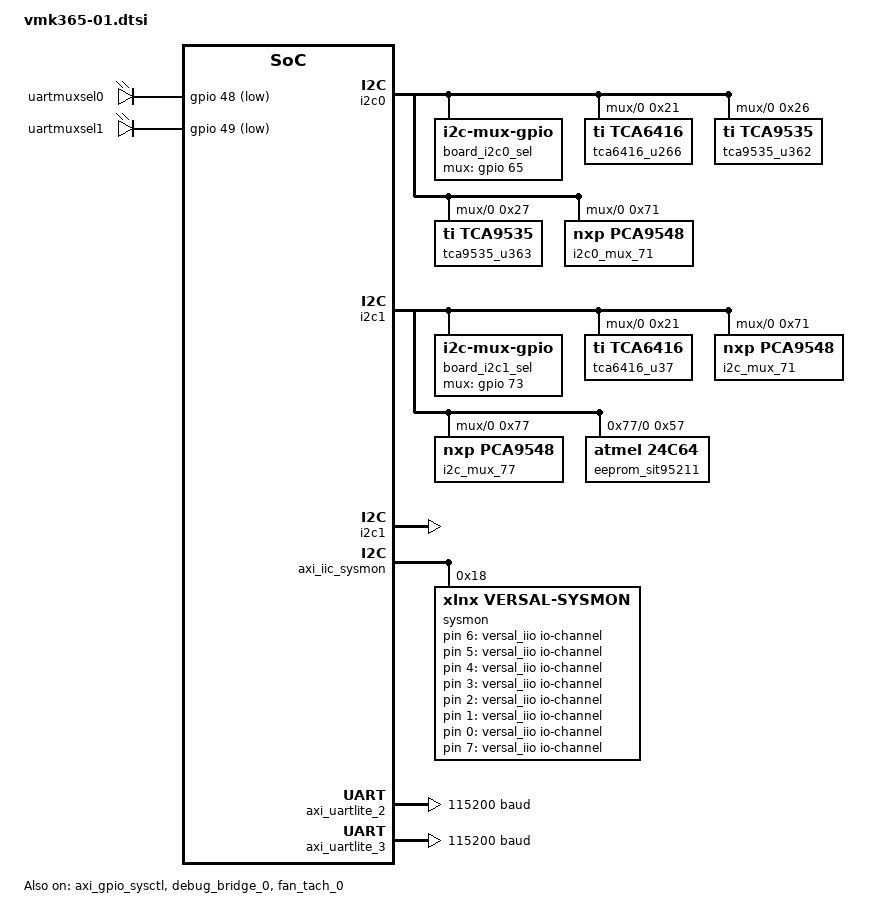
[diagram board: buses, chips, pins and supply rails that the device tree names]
// SPDX-License-Identifier: GPL-2.0
/*
 * dts file for SC on VMK365 (k24)
 *
 * (C) Copyright 2026, Advanced Micro Devices, Inc.
 *
 */

/dts-v1/;
/plugin/;

&{/} {
	compatible = "xlnx,zynqmp-sc-vmk365", "xlnx,zynqmp";
	model = "ZynqMP SC VMK365";

	versal_iio: versal {
		compatible = "iio-hwmon";
		io-channels = <&sysmon 6>, <&sysmon 5>, <&sysmon 4>,
				<&sysmon 3>, <&sysmon 2>, <&sysmon 1>,
				<&sysmon 0>, <&sysmon 7>, <&sysmon 8>, <&sysmon 9>;
	};

	leds-um {
		compatible = "gpio-leds";
		um0-led {
			label = "uartmuxsel0";
			gpios = <&gpio 48 1>;
			default-state = "off";
		};

		um1-led {
			label = "uartmuxsel1";
			gpios = <&gpio 49 1>;
			default-state = "off";
		};
	};
};

&{/} {
	/*
	 * BOARD_I2C0/1 are shared with the DUT through level translators
	 * (U31/U32, U33/U34). MIO65/MIO73 select the owner: 0 = SC, 1 = DUT.
	 * No arbitration exists, so the bus is handed back to the DUT when idle.
	 */
	board_i2c0_sel: i2c-mux-board-i2c0 {
		compatible = "i2c-mux-gpio";
		i2c-parent = <&i2c0>;
		mux-gpios = <&gpio 65 0>; /* MIO65 - I2C0_SW_SEL */
		idle-state = <1>;
		settle-time-us = <1000>;
		#address-cells = <1>;
		#size-cells = <0>;

		board_i2c0: i2c@0 { /* FMC/J13  - MIO66/67 - board_i2c0 */
			reg = <0>;
			#address-cells = <1>;
			#size-cells = <0>;

			tca6416_u266: gpio@21 { /* u266 */
				compatible = "ti,tca6416";
				reg = <0x21>;
				gpio-controller; /* interrupt on MIO69 */
				#gpio-cells = <2>;
				gpio-line-names = "QSFP_MODSELL", "QSFP_RESETL", "QSFP_MODPRSL", "QSFP_INTL", /* 0 - 3 */
						  "QSFP_LPMODE", "", "", "", /* 4 - 7 */
						  "", "", "", "", /* 10 - 13 */
						  "", "", "", ""; /* 14 - 17 */
			};

			tca9535_u362: gpio@26 { /* u362 */
				compatible = "ti,tca9535";
				reg = <0x26>;
				gpio-controller; /* interrupt on MIO69 */
				#gpio-cells = <2>;
				gpio-line-names = "SFP28_P0_TX_FAULT", "SFP28_P0_RX_LOS", "SFP28_P0_MOD_ABS", "SFP28_P0_TX_DISABLE", /* 0 - 3 */
						  "SFP28_P0_RS0_R", "SFP28_P0_RS1_R", "", "", /* 4 - 7 */
						  "SFP28_P1_TX_FAULT", "SFP28_P1_RX_LOS", "SFP28_P1_MOD_ABS", "SFP28_P1_TX_DISABLE", /* 10 - 13 */
						  "SFP28_P1_RS0_R", "SFP28_P1_RS1_R", "", ""; /* 14 - 17 */
			};

			tca9535_u363: gpio@27 { /* u363 */
				compatible = "ti,tca9535";
				reg = <0x27>;
				gpio-controller; /* interrupt on MIO69 */
				#gpio-cells = <2>;
				gpio-line-names = "SFP28_P2_TX_FAULT", "SFP28_P2_RX_LOS", "SFP28_P2_MOD_ABS", "SFP28_P2_TX_DISABLE", /* 0 - 3 */
						  "SFP28_P2_RS0_R", "SFP28_P2_RS1_R", "", "", /* 4 - 7 */
						  "SFP28_P3_TX_FAULT", "SFP28_P3_RX_LOS", "SFP28_P3_MOD_ABS", "SFP28_P3_TX_DISABLE", /* 10 - 13 */
						  "SFP28_P3_RS0_R", "SFP28_P3_RS1_R", "", ""; /* 14 - 17 */
			};

			i2c0_mux_71: i2c-mux@71 { /* u411 */
				compatible = "nxp,pca9548";
				#address-cells = <1>;
				#size-cells = <0>;
				reg = <0x71>;
				i2c-mux-idle-disconnect;
				qsfp: i2c@0 {
					#address-cells = <1>;
					#size-cells = <0>;
					reg = <0>;
				};
				sfp28_p0: i2c@1 {
					#address-cells = <1>;
					#size-cells = <0>;
					reg = <1>;
				};
				sfp28_p1: i2c@2 {
					#address-cells = <1>;
					#size-cells = <0>;
					reg = <2>;
				};
				sfp28_p2: i2c@3 {
					#address-cells = <1>;
					#size-cells = <0>;
					reg = <3>;
				};
				sfp28_p3: i2c@4 {
					#address-cells = <1>;
					#size-cells = <0>;
					reg = <4>;
				};
				/* 5 - 7 unused */
			};
		};
	};

	board_i2c1_sel: i2c-mux-board-i2c1 {
		compatible = "i2c-mux-gpio";
		i2c-parent = <&i2c1>;
		mux-gpios = <&gpio 73 0>; /* MIO73 - I2C1_SW_SEL */
		idle-state = <1>;
		settle-time-us = <1000>;
		#address-cells = <1>;
		#size-cells = <0>;

		board_i2c1: i2c@0 { /* board_i2c1 */
			reg = <0>;
			#address-cells = <1>;
			#size-cells = <0>;

			tca6416_u37: gpio@21 { /* u37 */
				compatible = "ti,tca6416";
				reg = <0x21>;
				gpio-controller; /* interrupt on MIO69 */
				#gpio-cells = <2>;
				gpio-line-names = "USB2_USB3_MUX_SEL", "PMBUS5_INA_ALERT", "PMBUS4_INA_ALERT", "PMBUS3_INA_ALERT", /* 0 - 3 */
						  "PMBUS2_INA_ALERT", "PMBUS1_INA_ALERT", "PMBUS1_ALERT", "", /* 4 - 7 */
						  "USB_FLEX_STATUS", "USB_P1_HOST_DET", "USB_ID_OTG_MODE", "", /* 10 - 13 */
						  "", "", "", ""; /* 14 - 17 */
			};

			i2c_mux_71: i2c-mux@71 { /* u162 */
				compatible = "nxp,pca9548";
				#address-cells = <1>;
				#size-cells = <0>;
				reg = <0x71>;
				i2c-mux-idle-disconnect;
				pmbus1: i2c@0 {
					#address-cells = <1>;
					#size-cells = <0>;
					reg = <0>;
					/* pmbus1 */
					/* J1 connector */
					/* u176 mpq2285 0x1d */
					/* u219 mpq72963 0x22 */
					/* u220 mpq72963 0x23 */
					/* u320 mpq70170 0x24 */
					/* u328 mpq70170 0x25 */
				};
				pmbus2: i2c@1 {
					#address-cells = <1>;
					#size-cells = <0>;
					reg = <1>;
					/* pmbus2 */
					/* J166 connector */
					/* u205 mpq2285 0x1 */
					/* u189 mpq2285 0x3 */
					/* u190 mpq2283 0x4 */
					/* u206 mpq2283 0x1b */
					/* u207 mpq2283 0x1c */
				};
				pmbus1_ina: i2c@2 {
					#address-cells = <1>;
					#size-cells = <0>;
					reg = <2>;
					/* u282 ina745a 0x40 vr_0v8_vcc_fpd_bus */
					/* u318 ina745a 0x41 vr_0v8_vcc_soc_io_bus */
					/* u319 ina700a 0x44 vr_0v88_vcc_lpd_bus */
					/* u324 ina700a 0x45 vr_1v5_vccaux_lpd_bus */
					/* u321 ina700a 0x46 vr_1v8_vcco_50x_bus */
					/* u322 ina700a 0x47 vr_0v8_vcc_mipi_507_bus */
					/* u64 ina745a 0x48 vr_0v8_vccint_bus1 */
					/* u275 ina745a 0x49 vr_0v8_vccint_bus2 */
					/* u276 ina745a 0x4a vr_0v8_vccint_bus3 */
				};
				pmbus2_ina: i2c@3 {
					#address-cells = <1>;
					#size-cells = <0>;
					reg = <3>;
					/* u327 ina700a 0x44 vr_1v8_vccaio_mipi_507 */
					/* u329 ina700a 0x45 vr_3v3_vccio_usb2_505 */
					/* u288 ina700a 0x46 vr_1v5_vccaux */
					/* u416 ina700a 0x47 vr_0v8_vcc_paux_505 */
				};
				pmbus3_ina: i2c@4 {
					#address-cells = <1>;
					#size-cells = <0>;
					reg = <4>;
					/* u290 ina700a 0x44 vr_3v3_vcco_4xx */
					/* u291 ina700a 0x45 vr_1v5_gtyp_avccaux */
					/* u292 ina700a 0x46 vr_1v2_gtyp_avtt */
					/* u295 ina700a 0x47 vr_1v0_vcco_7xx_lp5 */
				};
				pmbus4_ina: i2c@5 {
					#address-cells = <1>;
					#size-cells = <0>;
					reg = <5>;
					/* u293 ina700a 0x44 vr_0v8_vcc_mmd */
					/* u331 ina700a 0x45 vr_0v8_vcc_ram */
					/* u330 ina700a 0x46 vr_0v92_gtyp_avcc */
					/* u414 ina700a 0x47 vr_1v8_vccio_paux_505 */
				};
				pmbus5_ina: i2c@6 {
					#address-cells = <1>;
					#size-cells = <0>;
					reg = <6>;
					/* u325 ina700a 0x44 vr_0v92_gtyp_mmi_avcc */
					/* u326 ina700a 0x45 vr_1v5_gtyp_mmi_avccaux */
					/* u323 ina700a 0x46 vr_1v2_gtyp_mmi_avtt */
					/* u415 ina700a 0x47 vr_1v8_vccio_usb3_505 */
				};
				pmbus_seq: i2c@7 {
					#address-cells = <1>;
					#size-cells = <0>;
					reg = <7>;
					/* u338 ucd90320 0x73 */
				};
			};

			i2c_mux_77: i2c-mux@77 { /* u253 */
				compatible = "nxp,pca9548";
				#address-cells = <1>;
				#size-cells = <0>;
				reg = <0x77>;
				i2c-mux-idle-disconnect;
				clkgen_sit95211: i2c@0 {
					#address-cells = <1>;
					#size-cells = <0>;
					reg = <0>;
					/* clock-generator@0x69 - u101 */
					eeprom_u166: eeprom@57 { /* u166 - required by spec - also at address 0x5F */
						compatible = "atmel,24c64";
						label = "eeprom_sit95211";
						reg = <0x57>;
					};
				};
				usbdp: i2c@2 {
					#address-cells = <1>;
					#size-cells = <0>;
					reg = <2>;
					/* u272 tps66993 */
				};
				i2c_10g_aqr: i2c@3 {
					#address-cells = <1>;
					#size-cells = <0>;
					reg = <3>;
					/* u389 - aqr113c */
				};
				usb0_hub: i2c@4 {
					#address-cells = <1>;
					#size-cells = <0>;
					reg = <4>;
					/* u398 - DNP usb5734@74 */
				};
				/* 1, 5 - 7 not connected */
			};
		};
	};
};

&i2c1 { /* MIO24/25 - sysctrl_i2c1 */
	#address-cells = <1>;
	#size-cells = <0>;
	status = "okay";

	/* SC side of the MIO73 switch; board_i2c1 devices are under board_i2c1_sel */
	/* slg7xl46528: gpio@10/11 u169 - reset logic */
	/* m24c128 - eeprom u35 - board identification */
};

&fpga_full {
	firmware-name = "vmk365-01.bin";
	clocking0: clocking0 {
		compatible = "xlnx,fclk";
		status = "okay";
		assigned-clocks = <&zynqmp_clk 71>;
		assigned-clock-rates = <99999999>;
		#clock-cells = <0>;
		clock-output-names = "fabric_clk";
		clocks = <&zynqmp_clk 71>;
	};
	afi0: afi0 {
		status = "okay";
		compatible = "xlnx,afi-fpga";
		resets = <&zynqmp_reset 116>, <&zynqmp_reset 117>, <&zynqmp_reset 118>, <&zynqmp_reset 119>;
		config-afi = < 0 0>, <1 0>, <2 0>, <3 0>, <4 0>, <5 0>, <6 0>, <7 0>, <8 0>, <9 0>, <10 0>, <11 0>, <12 0>, <13 0>, <14 0xa00>, <15 0x000>;
	};
};

&amba {
	ranges;
	compatible = "simple-bus";
	#address-cells = <2>;
	#size-cells = <2>;
	axi_gpio_sysctl: gpio@80020000 {
		#interrupt-cells = <2>;
		interrupts = < 0 94 4 >;
		xlnx,gpio-board-interface = "Custom";
		compatible = "xlnx,axi-gpio-2.0" , "xlnx,xps-gpio-1.00.a";
		xlnx,all-outputs = <0>;
		#gpio-cells = <2>;
		xlnx,gpio-width = <17>;
		interrupt-parent = <&gic>;
		xlnx,dout-default = <0x8000>;
		xlnx,is-dual = <0>;
		xlnx,ip-name = "axi_gpio";
		xlnx,tri-default-2 = <0xffffffff>;
		reg = <0x0 0x80020000 0x0 0x10000>;
		xlnx,all-inputs-2 = <0>;
		clocks = <&zynqmp_clk 71>;
		xlnx,all-outputs-2 = <0>;
		gpio-controller;
		device_type = "gpio";
		xlnx,interrupt-present = <1>;
		xlnx,gpio2-board-interface = "Custom";
		xlnx,edk-iptype = "PERIPHERAL";
		xlnx,dout-default-2 = <0x0>;
		status = "okay";
		xlnx,gpio2-width = <32>;
		clock-names = "s_axi_aclk";
		interrupt-controller;
		interrupt-names = "ip2intc_irpt";
		xlnx,tri-default = <0xffffefff>;
		xlnx,name = "axi_gpio_sysctl";
		xlnx,all-inputs = <0>;
		gpio-line-names =
			/*  0 -  3 */ "DPL_EN", "DSYSTEM_EN", "DFPD_EN", "",
			/*  4 -  7 */ "", "", "", "",
			/*  8 - 11 */ "EEPROM_WP", "SYSCTRL_GPO0", "SYSCTRL_GPO1", "",
			/* 12 - 15 */ "SYSCTRL_GPO2", "SYSCTRL_GPO3", "DLPD_EN", "USB_MUX_SEL",
			/* 16 */ "";
	};
	axi_iic_sysmon: i2c@80060000 {
		interrupts = < 0 93 4 >;
		xlnx,iic-freq-khz = <100>;
		compatible = "xlnx,axi-iic-2.1" , "xlnx,xps-iic-2.00.a";
		xlnx,scl-inertial-delay = <0>;
		interrupt-parent = <&gic>;
		xlnx,ip-name = "axi_iic";
		xlnx,disable-setup-violation-check = <0>;
		reg = <0x0 0x80060000 0x0 0x10000>;
		clocks = <&zynqmp_clk 71>;
		xlnx,gpo-width = <1>;
		xlnx,s-axi-aclk-freq-hz = <0x5f5dd19>;
		xlnx,edk-iptype = "PERIPHERAL";
		xlnx,static-timing-reg-width = <0>;
		xlnx,sda-level = <1>;
		status = "okay";
		clock-names = "s_axi_aclk";
		xlnx,ten-bit-adr = <0>;
		xlnx,default-value = <0x0>;
		interrupt-names = "iic2intc_irpt";
		xlnx,iic-board-interface = "Custom";
		xlnx,timing-reg-width = <32>;
		xlnx,iic-freq = <100000>;
		xlnx,smbus-pmbus-host = <0>;
		xlnx,name = "axi_iic_sysmon";
		xlnx,axi-aclk-freq-mhz = <0x5f5dd19>;
		xlnx,sda-inertial-delay = <0>;
		sysmon: i2c@18 {
			#address-cells = <1>;
			#size-cells = <0>;
			compatible = "xlnx,versal-sysmon";
			reg = <0x18>;
			xlnx,numchannels = [10];
			status = "okay";
			#io-channel-cells = <1>;
			supply@32 {
				reg = <32>;
				xlnx,name = "vccaux";
			};
			supply@33 {
				reg = <33>;
				xlnx,name = "vccaux_pmc";
			};
			supply@34 {
				reg = <34>;
				xlnx,name = "vccint";
			};
			supply@35 {
				reg = <35>;
				xlnx,name = "vccint_mmi_mmi";
			};
			supply@36 {
				reg = <36>;
				xlnx,name = "vcc_pmc";
			};
			supply@37 {
				reg = <37>;
				xlnx,name = "vcc_psfp";
			};
			supply@38 {
				reg = <38>;
				xlnx,name = "vcc_pslp";
			};
			supply@39 {
				reg = <39>;
				xlnx,name = "vcc_ram";
			};
			supply@40 {
				reg = <40>;
				xlnx,name = "vcc_soc";
			};
			supply@41 {
				reg = <41>;
				xlnx,name = "vp_vn";
			};
		};
	};
	axi_uartlite_2: serial@80070000 {
		interrupts = < 0 104 1 >;
		compatible = "xlnx,axi-uartlite-2.0" , "xlnx,xps-uartlite-1.00.a";
		xlnx,uartlite-board-interface = "Custom";
		xlnx,s-axi-aclk-freq-hz-d = <0x5f5dd19>;
		interrupt-parent = <&gic>;
		xlnx,ip-name = "axi_uartlite";
		reg = <0x0 0x80070000 0x0 0x10000>;
		xlnx,baudrate = <115200>;
		clocks = <&zynqmp_clk 71>;
		current-speed = <115200>;
		xlnx,use-parity = <0>;
		xlnx,edk-iptype = "PERIPHERAL";
		xlnx,odd-parity = <0>;
		status = "okay";
		clock-names = "s_axi_aclk";
		interrupt-names = "interrupt";
		xlnx,name = "axi_uartlite_2";
		xlnx,data-bits = <8>;
		xlnx,parity = "No_Parity";
	};
	axi_uartlite_3: serial@80050000 {
		interrupts = < 0 91 1 >;
		compatible = "xlnx,axi-uartlite-2.0" , "xlnx,xps-uartlite-1.00.a";
		xlnx,uartlite-board-interface = "Custom";
		xlnx,s-axi-aclk-freq-hz-d = <0x5f5dd19>;
		interrupt-parent = <&gic>;
		xlnx,ip-name = "axi_uartlite";
		reg = <0x0 0x80050000 0x0 0x10000>;
		xlnx,baudrate = <115200>;
		clocks = <&zynqmp_clk 71>;
		current-speed = <115200>;
		xlnx,use-parity = <0>;
		xlnx,edk-iptype = "PERIPHERAL";
		xlnx,odd-parity = <0>;
		status = "okay";
		clock-names = "s_axi_aclk";
		interrupt-names = "interrupt";
		xlnx,name = "axi_uartlite_3";
		xlnx,data-bits = <8>;
		xlnx,parity = "No_Parity";
	};
	debug_bridge_0: debug_bridge@80010000 {
		xlnx,xvc-sw-id = <0x1>;
		xlnx,fifo-style = "SUBCORE";
		compatible = "xlnx,debug-bridge-3.0" , "generic-uio";
		xlnx,pcie-ext-cfg-next-ptr = <0x0>;
		xlnx,num-bs-master = <0>;
		xlnx,pcie-ext-cfg-vsec-id = <0x8>;
		xlnx,major-version = <14>;
		xlnx,bscan-mux = <1>;
		xlnx,xvc-hw-id = <0x1>;
		xlnx,device-family = <0>;
		xlnx,dclk-has-reset = <0>;
		xlnx,ip-name = "debug_bridge";
		xlnx,ir-width = <0>;
		reg = <0x0 0x80010000 0x0 0x10000>;
		xlnx,core-minor-alpha-ver = <97>;
		clocks = <&zynqmp_clk 71>;
		xlnx,xsdb-num-slaves = <0>;
		xlnx,en-int-sim = <1>;
		xlnx,clk-input-freq-hz = <300000000>;
		xlnx,ir-id-instr = <0>;
		xlnx,edk-iptype = "PERIPHERAL";
		xlnx,pcie-ext-cfg-base-addr = <0x400>;
		xlnx,build-revision = <0>;
		xlnx,use-softbscan = <1>;
		xlnx,ir-user1-instr = <0>;
		xlnx,core-minor-ver = <0>;
		xlnx,pcie-ext-cfg-vsec-rev-id = <0x0>;
		status = "okay";
		xlnx,chip-id = <0>;
		clock-names = "s_axi_aclk";
		xlnx,use-ext-bscan;
		xlnx,tck-clock-ratio = <8>;
		xlnx,minor-version = <1>;
		xlnx,en-passthrough = <0>;
		xlnx,core-type = <1>;
		xlnx,user-scan-chain = <1>;
		xlnx,use-bufr = <0>;
		xlnx,pcie-ext-cfg-vsec-length = <0x20>;
		xlnx,master-intf-type = <1>;
		xlnx,design-type = <0>;
		xlnx,debug-mode = <3>;
		xlnx,name = "debug_bridge_0";
		xlnx,core-major-ver = <1>;
	};
	fan_tach_0: fan_tach@80080000 {
		interrupt-parent = <&gic>;
		interrupts = < 0 89 4 0 90 4 >;
		compatible = "xlnx,fan-tach-1.0";
		status = "okay";
		clock-names = "clk";
		xlnx,ip-name = "fan_tach";
		interrupt-names = "interrupt_fan_fail" , "interrupt_pwm_det";
		xlnx,edk-iptype = "PERIPHERAL";
		reg = <0x0 0x80080000 0x0 0x1000 0x0 0x80081000 0x0 0x1000 0x0 0x80082000 0x0 0x1000>;
		clocks = <&zynqmp_clk 71>;
		xlnx,name = "fan_tach_0";
	};
};
